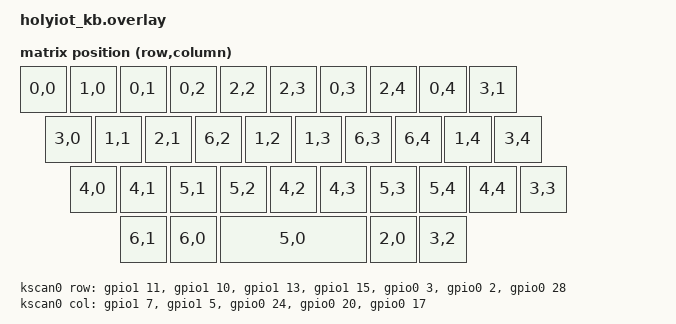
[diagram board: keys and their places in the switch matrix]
#include <dt-bindings/zmk/matrix_transform.h>
#include <dt-bindings/input/input-event-codes.h>
#include <dt-bindings/zmk/pointing.h>
#include <physical_layouts.dtsi>
#include <dt-bindings/zmk/pointing.h>

/* Configure I2C pins for the trackpad */
&pinctrl {
    i2c0_default: i2c0_default {
        group1 {
            psels = <NRF_PSEL(TWIM_SDA, 0, 15)>,
                    <NRF_PSEL(TWIM_SCL, 0, 13)>;
        };
    };
    i2c0_sleep: i2c0_sleep {
        group1 {
            psels = <NRF_PSEL(TWIM_SDA, 0, 15)>,
                    <NRF_PSEL(TWIM_SCL, 0, 13)>;
            low-power-enable;
        };
    };
};

/* Enable I2C bus and attach the trackpad */
&i2c0 {
    status = "okay";
    pinctrl-0 = <&i2c0_default>;
    pinctrl-1 = <&i2c0_sleep>;
    pinctrl-names = "default", "sleep";

    trackpad: trackpad@3b {
        compatible = "avago,adbs-a320";
        reg = <0x3b>;
        rst-gpios = <&gpio0 9 GPIO_ACTIVE_LOW>;
        motion-gpios = <&gpio1 6 (GPIO_PULL_UP | GPIO_ACTIVE_LOW)>;
        btn-gpios = <&gpio0 22 (GPIO_PULL_UP | GPIO_ACTIVE_LOW)>;
        btn-drive-gpios = <&gpio1 0 GPIO_ACTIVE_LOW>;
        swap-xy;
        invert-x;
        invert-y;
    };
};

/ {
    vbatt: vbatt {
        compatible = "zmk,battery-voltage-divider";
        label = "BATTERY";
        io-channels = <&adc 2>;
        output-ohms = <1000000>;
        full-ohms = <2000000>;
    };

    chosen {
        zmk,battery = &vbatt;
        zmk,kscan = &kscan0;
        zmk,physical-layouts = <&physical_layout0>;
    };

    /* Map Zephyr input events to ZMK behaviors */
    zip_button_behaviors: zip-button-behaviors {
        compatible = "zmk,input-processor-behaviors";
        #input-processor-cells = <0>;
        /* Map Zephyr INPUT_BTN_LEFT to ZMK Left Click */
        codes = <INPUT_BTN_LEFT>;
        bindings = <&mkp MB1>;
    };

    /* Connect trackpad to ZMK's pointing system */
    trackpad_listener {
        compatible = "zmk,input-listener";
        device = <&trackpad>;
        input-processors = <&zip_button_behaviors>;
    };

    kscan0: kscan {
        compatible = "zmk,kscan-gpio-matrix";
        label = "KSCAN";

        diode-direction = "col2row";

        row-gpios
            = <&gpio1 11 (GPIO_ACTIVE_HIGH | GPIO_PULL_DOWN)>
            , <&gpio1 10 (GPIO_ACTIVE_HIGH | GPIO_PULL_DOWN)>
            , <&gpio1 13 (GPIO_ACTIVE_HIGH | GPIO_PULL_DOWN)>
            , <&gpio1 15 (GPIO_ACTIVE_HIGH | GPIO_PULL_DOWN)>
            , <&gpio0 3  (GPIO_ACTIVE_HIGH | GPIO_PULL_DOWN)>
            , <&gpio0 2  (GPIO_ACTIVE_HIGH | GPIO_PULL_DOWN)>
            , <&gpio0 28 (GPIO_ACTIVE_HIGH | GPIO_PULL_DOWN)>
            ;

        col-gpios
            = <&gpio1 7  GPIO_ACTIVE_HIGH>
            , <&gpio1 5  GPIO_ACTIVE_HIGH>
            , <&gpio0 24 GPIO_ACTIVE_HIGH>
            , <&gpio0 20 GPIO_ACTIVE_HIGH>
            , <&gpio0 17 GPIO_ACTIVE_HIGH>
            ;
    };

    default_transform: keymap_transform_0 {
        compatible = "zmk,matrix-transform";
        columns = <10>;
        rows = <4>;
        map = <
            RC(0,0) RC(1,0) RC(0,1) RC(0,2) RC(2,2) RC(2,3) RC(0,3) RC(2,4) RC(0,4) RC(3,1)
            RC(3,0) RC(1,1) RC(2,1) RC(6,2) RC(1,2) RC(1,3) RC(6,3) RC(6,4) RC(1,4) RC(3,4)
            RC(4,0) RC(4,1) RC(5,1) RC(5,2) RC(4,2) RC(4,3) RC(5,3) RC(5,4) RC(4,4) RC(3,3)
            RC(6,1) RC(6,0) RC(5,0) RC(2,0) RC(3,2)
        >;
    };

    physical_layout0: physical_layout_0 {
        compatible = "zmk,physical-layout";
        display-name = "BlackBerry Q10";
        transform = <&default_transform>;
        kscan = <&kscan0>;
        keys = 
            /* Row 1 (10 keys) */
              <&key_physical_attrs 100 100 0 0 0 0 0>
            , <&key_physical_attrs 100 100 100 0 0 0 0>
            , <&key_physical_attrs 100 100 200 0 0 0 0>
            , <&key_physical_attrs 100 100 300 0 0 0 0>
            , <&key_physical_attrs 100 100 400 0 0 0 0>
            , <&key_physical_attrs 100 100 500 0 0 0 0>
            , <&key_physical_attrs 100 100 600 0 0 0 0>
            , <&key_physical_attrs 100 100 700 0 0 0 0>
            , <&key_physical_attrs 100 100 800 0 0 0 0>
            , <&key_physical_attrs 100 100 900 0 0 0 0>
            /* Row 2 (10 keys) - half staggered */
            , <&key_physical_attrs 100 100 50 100 0 0 0>
            , <&key_physical_attrs 100 100 150 100 0 0 0>
            , <&key_physical_attrs 100 100 250 100 0 0 0>
            , <&key_physical_attrs 100 100 350 100 0 0 0>
            , <&key_physical_attrs 100 100 450 100 0 0 0>
            , <&key_physical_attrs 100 100 550 100 0 0 0>
            , <&key_physical_attrs 100 100 650 100 0 0 0>
            , <&key_physical_attrs 100 100 750 100 0 0 0>
            , <&key_physical_attrs 100 100 850 100 0 0 0>
            , <&key_physical_attrs 100 100 950 100 0 0 0>
            /* Row 3 (10 keys) - half staggered again */
            , <&key_physical_attrs 100 100 100 200 0 0 0>
            , <&key_physical_attrs 100 100 200 200 0 0 0>
            , <&key_physical_attrs 100 100 300 200 0 0 0>
            , <&key_physical_attrs 100 100 400 200 0 0 0>
            , <&key_physical_attrs 100 100 500 200 0 0 0>
            , <&key_physical_attrs 100 100 600 200 0 0 0>
            , <&key_physical_attrs 100 100 700 200 0 0 0>
            , <&key_physical_attrs 100 100 800 200 0 0 0>
            , <&key_physical_attrs 100 100 900 200 0 0 0>
            , <&key_physical_attrs 100 100 1000 200 0 0 0>
            /* Row 4 (5 keys) */
            , <&key_physical_attrs 100 100 200 300 0 0 0>  /* LSHFT */
            , <&key_physical_attrs 100 100 300 300 0 0 0>  /* MIC */
            , <&key_physical_attrs 300 100 400 300 0 0 0>  /* SPACE */
            , <&key_physical_attrs 100 100 700 300 0 0 0>  /* SYM */
            , <&key_physical_attrs 100 100 800 300 0 0 0>;  /* RSHFT */
    };
};

/* Configure ADC for 1M resistors */
&adc {
    status = "okay";
    #address-cells = <1>;
    #size-cells = <0>;

    channel@2 {
        reg = <2>;
        zephyr,gain = "ADC_GAIN_1_6";
        zephyr,reference = "ADC_REF_INTERNAL";
        zephyr,acquisition-time = <ADC_ACQ_TIME(ADC_ACQ_TIME_MICROSECONDS, 40)>;
        zephyr,input-positive = <NRF_SAADC_AIN2>; /* P0.04 */
        zephyr,resolution = <12>;
    };
};

